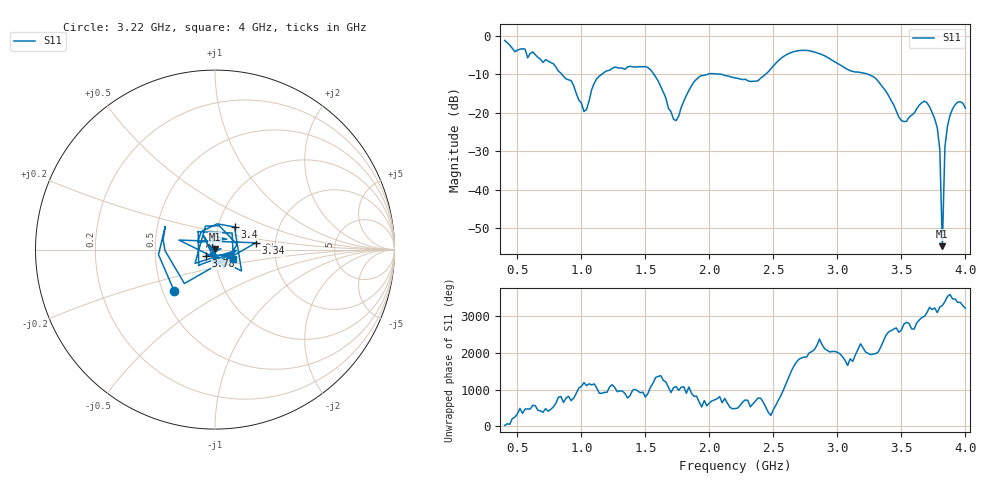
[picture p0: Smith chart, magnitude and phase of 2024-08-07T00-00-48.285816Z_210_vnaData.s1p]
!Created with skrf (http://scikit-rf.org).
# Hz S RI R 50.0
!freq ReS11 ImS11
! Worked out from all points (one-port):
!   181 points, 400 MHz to 4 GHz, reference 50 ohm
!   lowest |S11| = -54.7 dB at 3.82 GHz (marker M1), VSWR 1.00, Z = 50.1 + j0.134 ohm
!   |S11| at or under -10 dB: 1.566 GHz to 1.987 GHz (420.8 MHz wide, 23.7 % of centre); 2.091 GHz to 2.439 GHz (348.1 MHz wide, 15.4 % of centre); 3.239 GHz to end of sweep (the widest 3 of 4)
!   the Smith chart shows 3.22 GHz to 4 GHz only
!   S11 on the Smith chart (normalised r, x): 3.22 GHz: 0.57, -0.30; 3.34 GHz: 1.58, +0.13; 3.4 GHz: 1.20, +0.31; 3.78 GHz: 0.90, -0.07; 4 GHz: 1.22, -0.13
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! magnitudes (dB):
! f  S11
! 400 MHz  -1.2
! 860 MHz  -10.5
! 920 MHz  -11.7
! 1.02 GHz  -19.7
! 1.12 GHz  -11.2
! 1.3 GHz  -8.4
! 1.54 GHz  -8.8
! 1.72 GHz  -21.7
! 1.76 GHz  -20.9
! 1.92 GHz  -10.6
! 2.2 GHz  -10.9
! 2.38 GHz  -11.7
! 2.66 GHz  -4.1
! 2.86 GHz  -4.6
! 3.1 GHz  -9.1
! 3.22 GHz  -9.8
! 3.34 GHz  -12.7
! 3.4 GHz  -15.6
! 3.5 GHz  -22.0
! 3.56 GHz  -21.2
! 3.68 GHz  -17.0
! 3.78 GHz  -23.9
! 3.8 GHz  -29.5
! 3.82 GHz  -54.7
! 3.84 GHz  -28.9
! 3.86 GHz  -23.5
! 3.94 GHz  -17.2
! 4 GHz  -18.8
